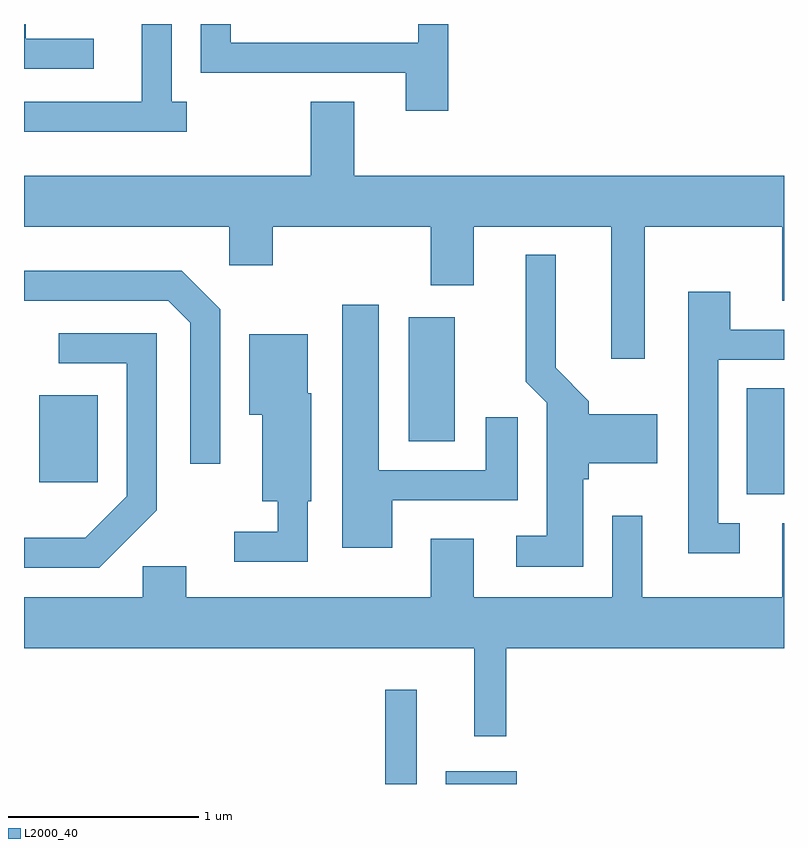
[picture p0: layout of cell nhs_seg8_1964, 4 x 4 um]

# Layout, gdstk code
import gdstk
lib = gdstk.Library(unit=1e-6, precision=1e-09)
def R(c, l, rs):  # rectangles x0, y0, x1, y1
    for r in rs: c.add(gdstk.rectangle(r[:2], r[2:], *l))
def P(c, l, *ps):  # polygons
    for p in ps: c.add(gdstk.Polygon(p, *l))
L2000_40 = (2000, 40)

nhs_seg8_1964 = lib.new_cell('nhs_seg8_1964')
R(nhs_seg8_1964, L2000_40, [(245.511,1862.342,245.679,1862.838), (245.831,1862.342,246.204,1862.409), (247.416,1863.866,247.611,1864.424), (243.691,1863.931,243.999,1864.389), (245.636,1864.146,245.879,1864.799)])
P(nhs_seg8_1964, L2000_40, [(244.468,1865.934),(244.389,1865.934),(244.389,1866.342),(244.231,1866.342),(244.231,1865.934),(243.611,1865.934),(243.611,1865.776),(244.468,1865.776)],
  [(245.844,1866.342),(245.686,1866.342),(245.686,1866.244),(244.699,1866.244),(244.699,1866.342),(244.541,1866.342),(244.541,1866.086),(245.621,1866.086),(245.621,1865.886),(245.844,1865.886)],
  [(243.978,1866.264),(243.619,1866.264),(243.619,1866.342),(243.611,1866.342),(243.611,1866.106),(243.978,1866.106)],
  [(246.879,1865.276),(247.601,1865.276),(247.601,1864.886),(247.611,1864.886),(247.611,1865.544),(245.349,1865.544),(245.349,1865.934),(245.121,1865.934),(245.121,1865.544),(243.611,1865.544),(243.611,1865.276),(244.691,1865.276),(244.691,1865.071),(244.919,1865.071),(244.919,1865.276),(245.751,1865.276),(245.751,1864.966),(245.979,1864.966),(245.979,1865.276),(246.701,1865.276),(246.701,1864.581),(246.879,1864.581)],
  [(246.554,1863.946),(246.584,1863.946),(246.584,1864.031),(246.944,1864.031),(246.944,1864.289),(246.584,1864.289),(246.584,1864.357),(246.409,1864.532),(246.409,1865.128),(246.251,1865.128),(246.251,1864.459),(246.361,1864.349),(246.361,1863.649),(246.203,1863.649),(246.203,1863.486),(246.554,1863.486)],
  [(244.644,1864.842),(244.442,1865.044),(243.611,1865.044),(243.611,1864.886),(244.369,1864.886),(244.486,1864.769),(244.486,1864.028),(244.644,1864.028)],
  [(247.378,1863.714),(247.264,1863.714),(247.264,1864.576),(247.611,1864.576),(247.611,1864.734),(247.329,1864.734),(247.329,1864.934),(247.106,1864.934),(247.106,1863.556),(247.378,1863.556)],
  [(245.549,1863.836),(246.209,1863.836),(246.209,1864.273),(246.041,1864.273),(246.041,1863.994),(245.479,1863.994),(245.479,1864.864),(245.286,1864.864),(245.286,1863.586),(245.549,1863.586)],
  [(244.309,1863.784),(244.309,1864.714),(243.793,1864.714),(243.793,1864.556),(244.151,1864.556),(244.151,1863.857),(243.934,1863.639),(243.611,1863.639),(243.611,1863.481),(244.007,1863.481)],
  [(245.104,1863.831),(245.124,1863.831),(245.124,1864.399),(245.104,1864.399),(245.104,1864.709),(244.796,1864.709),(244.796,1864.286),(244.866,1864.286),(244.866,1863.831),(244.946,1863.831),(244.946,1863.669),(244.718,1863.669),(244.718,1863.511),(245.104,1863.511)],
  [(246.149,1863.056),(247.611,1863.056),(247.611,1863.714),(247.601,1863.714),(247.601,1863.324),(246.864,1863.324),(246.864,1863.753),(246.706,1863.753),(246.706,1863.324),(245.979,1863.324),(245.979,1863.634),(245.751,1863.634),(245.751,1863.324),(244.464,1863.324),(244.464,1863.489),(244.236,1863.489),(244.236,1863.324),(243.611,1863.324),(243.611,1863.056),(245.981,1863.056),(245.981,1862.593),(246.149,1862.593)])

lib.write_gds('nhs_seg8_1964.gds')
